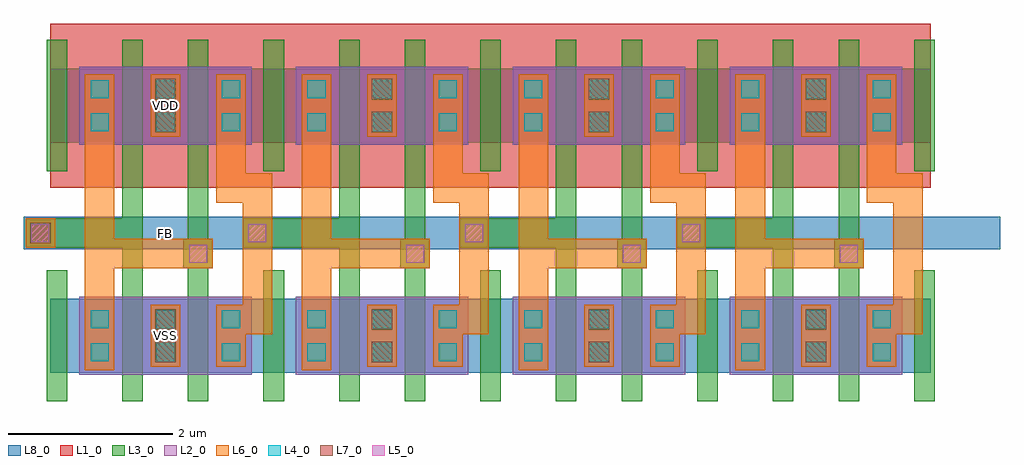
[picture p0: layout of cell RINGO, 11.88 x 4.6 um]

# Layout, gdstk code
import gdstk
lib = gdstk.Library(unit=1e-6, precision=1e-09)
def R(c, l, rs):  # rectangles x0, y0, x1, y1
    for r in rs: c.add(gdstk.rectangle(r[:2], r[2:], *l))
L1_0 = (1, 0)
L2_0 = (2, 0)
L3_0 = (3, 0)
L4_0 = (4, 0)
L5_0 = (5, 0)
L6_0 = (6, 0)
L7_0 = (7, 0)
L8_0 = (8, 0)

trans = lib.new_cell('TRANS')
R(trans, L2_0, [(-0.65,-0.475,0.65,0.475)])
R(trans, L4_0, [(-0.51,-0.31,-0.29,-0.09), (0.29,-0.31,0.51,-0.09), (-0.51,0.09,-0.29,0.31), (0.29,0.09,0.51,0.31)])
R(trans, L6_0, [(-0.58,-0.38,-0.22,0.38), (0.22,-0.38,0.58,0.38)])
trans.add(gdstk.FlexPath([(0,-0.8),(0,0.8)], 0.25, ends="flush", simple_path=True, layer=3, datatype=0))  # L3_0

inv2 = lib.new_cell('INV2')
R(inv2, L1_0, [(-1.4,1.8,1.4,3.8)])
R(inv2, L3_0, [(-0.525,-0.25,-0.275,2.25), (0.275,-0.25,0.525,2.25), (0.22,0.82,0.58,1.18), (-1.7,1.07,-0.4,1.43)])
R(inv2, L5_0, [(0.29,0.89,0.51,1.11), (-1.63,1.14,-1.41,1.36)])
R(inv2, L6_0, [(-0.98,-0.42,-0.62,2.42), (-0.8,0.82,0.58,1.18)])
R(inv2, L7_0, [(-0.125,-0.325,0.125,-0.075), (-0.125,0.075,0.125,0.325), (-0.125,2.475,0.125,2.725), (-0.125,2.875,0.125,3.125)])
R(inv2, L8_0, [(-1.4,-0.45,1.4,0.45), (-1.4,2.35,1.4,3.25)])
inv2.add(gdstk.FlexPath([(0.8,0.2),(1.12,0.2),(1.12,1.8),(0.8,1.8),(0.8,2.42)], 0.36, ends="flush", simple_path=True, layer=6, datatype=0))  # L6_0
inv2.add(gdstk.FlexPath([(1.32,3.6),(1.32,2)], 0.25, ends="flush", simple_path=True, layer=3, datatype=0))  # L3_0
inv2.add(gdstk.FlexPath([(-1.32,3.6),(-1.32,2)], 0.25, ends="flush", simple_path=True, layer=3, datatype=0))  # L3_0
inv2.add(gdstk.FlexPath([(1.32,0.8),(1.32,-0.8)], 0.25, ends="flush", simple_path=True, layer=3, datatype=0))  # L3_0
inv2.add(gdstk.FlexPath([(-1.32,0.8),(-1.32,-0.8)], 0.25, ends="flush", simple_path=True, layer=3, datatype=0))  # L3_0
inv2.add(gdstk.Reference(trans, (-0.4,0)))
inv2.add(gdstk.Reference(trans, (-0.4,2.8)))
inv2.add(gdstk.Reference(trans, (0.4,0), x_reflection=True))
inv2.add(gdstk.Reference(trans, (0.4,2.8), x_reflection=True))
inv2.add(gdstk.Label('IN', (-1.19,1.25), layer=3, texttype=1))
inv2.add(gdstk.Label('OUT', (0.8,1.8), layer=6, texttype=1))

ringo = lib.new_cell('RINGO')
R(ringo, L6_0, [(-1.7,1.07,-1.34,1.43)])
R(ringo, L7_0, [(-1.645,1.125,-1.395,1.375)])
R(ringo, L8_0, [(-1.72,1.05,10.16,1.45)])
ringo.add(gdstk.Reference(inv2, (0,0)))
ringo.add(gdstk.Reference(inv2, (2.64,0)))
ringo.add(gdstk.Reference(inv2, (5.28,0)))
ringo.add(gdstk.Reference(inv2, (7.92,0)))
ringo.add(gdstk.Label('FB', (0,1.25), layer=8, texttype=1))
ringo.add(gdstk.Label('VSS', (0,0), layer=8, texttype=1))
ringo.add(gdstk.Label('VDD', (0,2.8), layer=8, texttype=1))

lib.write_gds('RINGO.gds')
